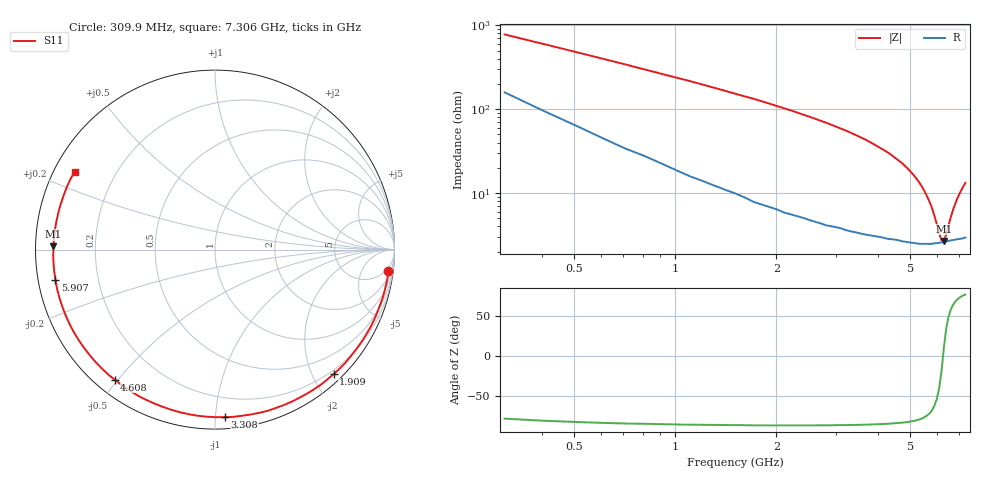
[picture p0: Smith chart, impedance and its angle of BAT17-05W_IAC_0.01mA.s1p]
! Infineon Technologies  Discrete & RF Semiconductors
! BAT17-05W
! IAC = 0.01 mA
! One-Port S-Parameters
# Hz  S  MA  R  50
!f  S11
!Hz  Mag  Ang
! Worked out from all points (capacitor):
!   71 points, 309.9 MHz to 7.306 GHz, reference 50 ohm
!   read as one part to ground: C = 661 fF near 309.9 MHz
!   lowest |Z| = 2.68 ohm at 6.307 GHz (marker M1)
!   series resonance near 6.268 GHz, so ESL is about 980 pH
!   S11 on the Smith chart (normalised r, x): 309.9 MHz: 3, -15; 1.909 GHz: 0.14, -2.32; 3.308 GHz: 0.07, -1.06; 4.608 GHz: 0.05, -0.49; 5.907 GHz: 0.05, -0.09; 7.306 GHz: 0.06, +0.26
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3.0985e8  0.9742 -7.2
7.0965e8  0.972 -16.6
1.0095e9  0.9689 -23.7
1.2094e9  0.9666 -28.6
1.70915e9  0.9619 -41.1
1.90905e9  0.9584 -46.4
2.10895e9  0.9561 -51.9
2.4088e9  0.9501 -60.4
2.6087e9  0.9474 -66.0
2.8086e9  0.9448 -71.7
3.0085e9  0.94 -77.7
3.30835e9  0.9358 -86.6
3.6082e9  0.9308 -95.8
3.8081e9  0.9269 -102.2
4.10795e9  0.9215 -111.9
4.30785e9  0.9201 -117.7
4.6077e9  0.9152 -127.7
4.70765e9  0.9155 -130.5
5.0075e9  0.9127 -140.3
5.2074e9  0.9116 -146.8
5.4073e9  0.9103 -153.1
5.6072e9  0.9081 -159.7
5.90705e9  0.9049 -169.2
6.10695e9  0.9029 -175.1
6.30685e9  0.9002 178.8
6.50675e9  0.898 172.9
6.90655e9  0.8958 161.5
7.30635e9  0.8949 150.9
